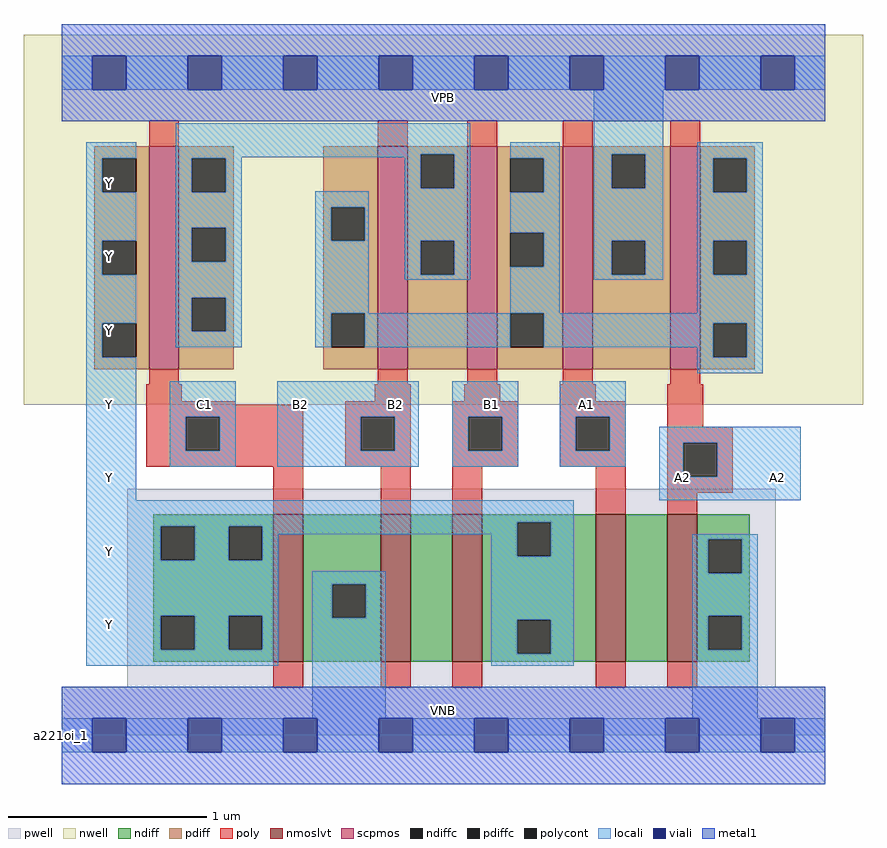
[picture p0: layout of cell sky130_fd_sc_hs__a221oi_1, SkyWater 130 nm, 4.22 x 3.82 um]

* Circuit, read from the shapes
.subckt sky130_fd_sc_hs__a221oi_1 A1 A2 B1 B2 C1 VGND VNB VPB VPWR Y
XM1 VGND C1 Y VNB sky130_fd_pr__nfet_01v8_lvt w=0.74 l=0.15
XM2 n1 B2 VGND VNB sky130_fd_pr__nfet_01v8_lvt w=0.74 l=0.15
XM3 Y B1 n1 VNB sky130_fd_pr__nfet_01v8_lvt w=0.74 l=0.15
XM4 n2 A1 Y VNB sky130_fd_pr__nfet_01v8_lvt w=0.74 l=0.15
XM5 VGND A2 n2 VNB sky130_fd_pr__nfet_01v8_lvt w=0.74 l=0.15
XM6 n3 C1 Y VPB sky130_fd_pr__pfet_01v8 w=1.12 l=0.15
XM7 n3 B2 n4 VPB sky130_fd_pr__pfet_01v8 w=1.12 l=0.15
XM8 n4 B1 n3 VPB sky130_fd_pr__pfet_01v8 w=1.12 l=0.15
XM9 VPWR A1 n4 VPB sky130_fd_pr__pfet_01v8 w=1.12 l=0.15
XM10 n4 A2 VPWR VPB sky130_fd_pr__pfet_01v8 w=1.12 l=0.15
.ends

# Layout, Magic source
magic
tech sky130A
magscale 1 2
<< nwell >>
rect -38 332 806 704
<< pwell >>
rect 66 49 718 248
rect 0 0 768 49
<< scpmos >>
rect 88 368 118 592
rect 318 368 348 592
rect 408 368 438 592
rect 504 368 534 592
rect 612 368 642 592
<< nmoslvt >>
rect 213 74 243 222
rect 321 74 351 222
rect 393 74 423 222
rect 537 74 567 222
rect 609 74 639 222
<< ndiff >>
rect 92 210 213 222
rect 92 176 100 210
rect 134 176 168 210
rect 202 176 213 210
rect 92 120 213 176
rect 92 86 100 120
rect 134 86 168 120
rect 202 86 213 120
rect 92 74 213 86
rect 243 152 321 222
rect 243 118 272 152
rect 306 118 321 152
rect 243 74 321 118
rect 351 74 393 222
rect 423 214 537 222
rect 423 180 458 214
rect 492 180 537 214
rect 423 116 537 180
rect 423 82 458 116
rect 492 82 537 116
rect 423 74 537 82
rect 567 74 609 222
rect 639 197 692 222
rect 639 163 650 197
rect 684 163 692 197
rect 639 120 692 163
rect 639 86 650 120
rect 684 86 692 120
rect 639 74 692 86
<< pdiff >>
rect 33 580 88 592
rect 33 546 41 580
rect 75 546 88 580
rect 33 497 88 546
rect 33 463 41 497
rect 75 463 88 497
rect 33 414 88 463
rect 33 380 41 414
rect 75 380 88 414
rect 33 368 88 380
rect 118 580 173 592
rect 118 546 131 580
rect 165 546 173 580
rect 118 510 173 546
rect 118 476 131 510
rect 165 476 173 510
rect 118 440 173 476
rect 118 406 131 440
rect 165 406 173 440
rect 118 368 173 406
rect 263 531 318 592
rect 263 497 271 531
rect 305 497 318 531
rect 263 424 318 497
rect 263 390 271 424
rect 305 390 318 424
rect 263 368 318 390
rect 348 584 408 592
rect 348 550 361 584
rect 395 550 408 584
rect 348 497 408 550
rect 348 463 361 497
rect 395 463 408 497
rect 348 368 408 463
rect 438 580 504 592
rect 438 546 451 580
rect 485 546 504 580
rect 438 505 504 546
rect 438 471 451 505
rect 485 471 504 505
rect 438 424 504 471
rect 438 390 451 424
rect 485 390 504 424
rect 438 368 504 390
rect 534 584 612 592
rect 534 550 553 584
rect 587 550 612 584
rect 534 497 612 550
rect 534 463 553 497
rect 587 463 612 497
rect 534 368 612 463
rect 642 580 697 592
rect 642 546 655 580
rect 689 546 697 580
rect 642 497 697 546
rect 642 463 655 497
rect 689 463 697 497
rect 642 414 697 463
rect 642 380 655 414
rect 689 380 697 414
rect 642 368 697 380
<< ndiffc >>
rect 100 176 134 210
rect 168 176 202 210
rect 100 86 134 120
rect 168 86 202 120
rect 272 118 306 152
rect 458 180 492 214
rect 458 82 492 116
rect 650 163 684 197
rect 650 86 684 120
<< pdiffc >>
rect 41 546 75 580
rect 41 463 75 497
rect 41 380 75 414
rect 131 546 165 580
rect 131 476 165 510
rect 131 406 165 440
rect 271 497 305 531
rect 271 390 305 424
rect 361 550 395 584
rect 361 463 395 497
rect 451 546 485 580
rect 451 471 485 505
rect 451 390 485 424
rect 553 550 587 584
rect 553 463 587 497
rect 655 546 689 580
rect 655 463 689 497
rect 655 380 689 414
<< poly >>
rect 88 592 118 618
rect 318 592 348 618
rect 408 592 438 618
rect 504 592 534 618
rect 612 592 642 618
rect 88 353 118 368
rect 318 353 348 368
rect 408 353 438 368
rect 504 353 534 368
rect 612 353 642 368
rect 85 336 121 353
rect 315 336 351 353
rect 405 336 441 353
rect 501 336 537 353
rect 85 332 175 336
rect 85 320 243 332
rect 85 286 125 320
rect 159 286 243 320
rect 85 270 243 286
rect 285 320 351 336
rect 285 286 301 320
rect 335 286 351 320
rect 285 270 351 286
rect 213 222 243 270
rect 321 222 351 270
rect 393 320 459 336
rect 393 286 409 320
rect 443 286 459 320
rect 393 270 459 286
rect 501 320 567 336
rect 501 286 517 320
rect 551 286 567 320
rect 501 270 567 286
rect 393 222 423 270
rect 537 222 567 270
rect 609 310 645 353
rect 609 294 675 310
rect 609 260 625 294
rect 659 260 675 294
rect 609 244 675 260
rect 609 222 639 244
rect 213 48 243 74
rect 321 48 351 74
rect 393 48 423 74
rect 537 48 567 74
rect 609 48 639 74
<< polycont >>
rect 125 286 159 320
rect 301 286 335 320
rect 409 286 443 320
rect 517 286 551 320
rect 625 260 659 294
<< locali >>
rect 0 649 31 683
rect 65 649 127 683
rect 161 649 223 683
rect 257 649 319 683
rect 353 649 415 683
rect 449 649 511 683
rect 545 649 607 683
rect 641 649 703 683
rect 737 649 768 683
rect 25 580 75 596
rect 25 546 41 580
rect 25 497 75 546
rect 25 463 41 497
rect 25 414 75 463
rect 25 380 41 414
rect 115 584 411 615
rect 115 581 361 584
rect 115 580 181 581
rect 115 546 131 580
rect 165 546 181 580
rect 345 550 361 581
rect 395 550 411 584
rect 115 510 181 546
rect 115 476 131 510
rect 165 476 181 510
rect 115 440 181 476
rect 115 406 131 440
rect 165 406 181 440
rect 115 390 181 406
rect 255 531 309 547
rect 255 497 271 531
rect 305 497 309 531
rect 255 424 309 497
rect 345 497 411 550
rect 345 463 361 497
rect 395 463 411 497
rect 345 458 411 463
rect 451 580 501 596
rect 485 546 501 580
rect 451 505 501 546
rect 485 471 501 505
rect 451 424 501 471
rect 535 584 605 649
rect 535 550 553 584
rect 587 550 605 584
rect 535 497 605 550
rect 535 463 553 497
rect 587 463 605 497
rect 535 458 605 463
rect 639 580 705 596
rect 639 546 655 580
rect 689 546 705 580
rect 639 497 705 546
rect 639 463 655 497
rect 689 463 705 497
rect 639 424 705 463
rect 255 390 271 424
rect 305 390 451 424
rect 485 414 705 424
rect 485 390 655 414
rect 25 236 75 380
rect 639 380 655 390
rect 689 380 705 414
rect 639 364 705 380
rect 109 320 175 356
rect 109 286 125 320
rect 159 286 175 320
rect 109 270 175 286
rect 217 320 359 356
rect 217 286 301 320
rect 335 286 359 320
rect 217 270 359 286
rect 393 320 459 356
rect 393 286 409 320
rect 443 286 459 320
rect 393 270 459 286
rect 501 320 567 356
rect 501 286 517 320
rect 551 286 567 320
rect 501 270 567 286
rect 601 294 743 310
rect 601 260 625 294
rect 659 260 743 294
rect 601 236 743 260
rect 25 214 515 236
rect 25 210 458 214
rect 25 176 100 210
rect 134 176 168 210
rect 202 202 458 210
rect 202 176 218 202
rect 25 120 218 176
rect 432 180 458 202
rect 492 180 515 214
rect 25 86 100 120
rect 134 86 168 120
rect 202 86 218 120
rect 25 70 218 86
rect 252 152 326 165
rect 252 118 272 152
rect 306 118 326 152
rect 252 17 326 118
rect 432 116 515 180
rect 432 82 458 116
rect 492 82 515 116
rect 432 70 515 82
rect 634 197 700 202
rect 634 163 650 197
rect 684 163 700 197
rect 634 120 700 163
rect 634 86 650 120
rect 684 86 700 120
rect 634 17 700 86
rect 0 -17 31 17
rect 65 -17 127 17
rect 161 -17 223 17
rect 257 -17 319 17
rect 353 -17 415 17
rect 449 -17 511 17
rect 545 -17 607 17
rect 641 -17 703 17
rect 737 -17 768 17
<< viali >>
rect 31 649 65 683
rect 127 649 161 683
rect 223 649 257 683
rect 319 649 353 683
rect 415 649 449 683
rect 511 649 545 683
rect 607 649 641 683
rect 703 649 737 683
rect 31 -17 65 17
rect 127 -17 161 17
rect 223 -17 257 17
rect 319 -17 353 17
rect 415 -17 449 17
rect 511 -17 545 17
rect 607 -17 641 17
rect 703 -17 737 17
<< metal1 >>
rect 0 683 768 715
rect 0 649 31 683
rect 65 649 127 683
rect 161 649 223 683
rect 257 649 319 683
rect 353 649 415 683
rect 449 649 511 683
rect 545 649 607 683
rect 641 649 703 683
rect 737 649 768 683
rect 0 617 768 649
rect 0 17 768 49
rect 0 -17 31 17
rect 65 -17 127 17
rect 161 -17 223 17
rect 257 -17 319 17
rect 353 -17 415 17
rect 449 -17 511 17
rect 545 -17 607 17
rect 641 -17 703 17
rect 737 -17 768 17
rect 0 -49 768 -17
<< labels >>
rlabel comment s 0 0 0 0 4 a221oi_1
flabel pwell s 0 0 768 49 0 FreeSans 200 0 0 0 VNB
port 7 nsew ground bidirectional
flabel nwell s 0 617 768 666 0 FreeSans 200 0 0 0 VPB
port 8 nsew power bidirectional
flabel metal1 s 0 617 768 666 0 FreeSans 340 0 0 0 VPWR
port 9 nsew power bidirectional
flabel metal1 s 0 0 768 49 0 FreeSans 340 0 0 0 VGND
port 6 nsew ground bidirectional
flabel locali s 127 316 161 350 0 FreeSans 340 0 0 0 C1
port 5 nsew signal input
flabel locali s 31 94 65 128 0 FreeSans 340 0 0 0 Y
port 10 nsew signal output
flabel locali s 31 168 65 202 0 FreeSans 340 0 0 0 Y
port 10 nsew signal output
flabel locali s 31 242 65 276 0 FreeSans 340 0 0 0 Y
port 10 nsew signal output
flabel locali s 31 316 65 350 0 FreeSans 340 0 0 0 Y
port 10 nsew signal output
flabel locali s 31 390 65 424 0 FreeSans 340 0 0 0 Y
port 10 nsew signal output
flabel locali s 31 464 65 498 0 FreeSans 340 0 0 0 Y
port 10 nsew signal output
flabel locali s 31 538 65 572 0 FreeSans 340 0 0 0 Y
port 10 nsew signal output
flabel locali s 223 316 257 350 0 FreeSans 340 0 0 0 B2
port 4 nsew signal input
flabel locali s 319 316 353 350 0 FreeSans 340 0 0 0 B2
port 4 nsew signal input
flabel locali s 415 316 449 350 0 FreeSans 340 0 0 0 B1
port 3 nsew signal input
flabel locali s 511 316 545 350 0 FreeSans 340 0 0 0 A1
port 1 nsew signal input
flabel locali s 607 242 641 276 0 FreeSans 340 0 0 0 A2
port 2 nsew signal input
flabel locali s 703 242 737 276 0 FreeSans 340 0 0 0 A2
port 2 nsew signal input
<< properties >>
string LEFsite unit
string LEFclass CORE
string FIXED_BBOX 0 0 768 666
string GDS_FILE $PDKPATH/libs.ref/sky130_fd_sc_hs/gds/sky130_fd_sc_hs.gds
string LEFsymmetry X Y
string GDS_END 2901968
string GDS_START 2894110
<< end >>
